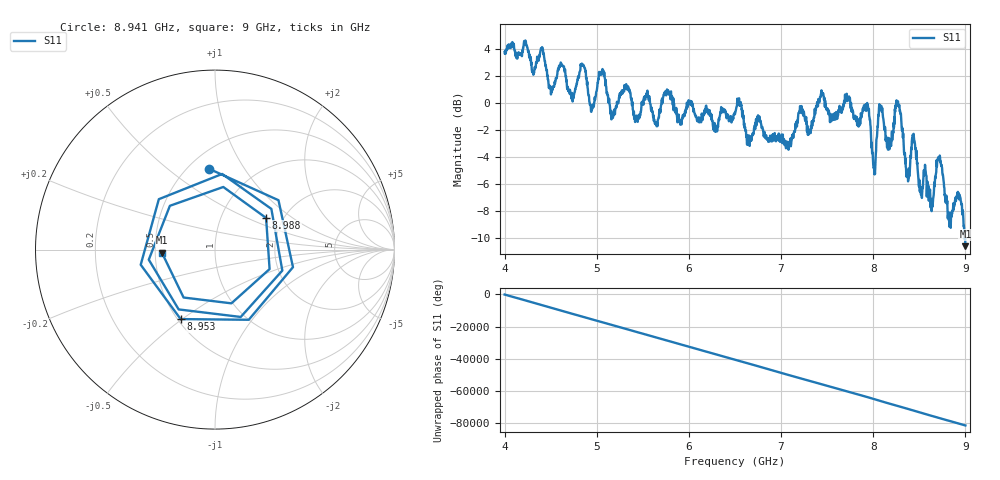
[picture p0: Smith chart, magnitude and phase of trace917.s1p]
! Created with skrf 1.8.0 (http://scikit-rf.org).
# Hz S RI R 50.0
!freq ReS11 ImS11
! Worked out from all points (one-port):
!   1601 points, 4 GHz to 9 GHz, reference 50 ohm
!   lowest |S11| = -10.6 dB at 9 GHz (marker M1), VSWR 1.84, Z = 27.2 - j1.06 ohm
!   |S11| at or under -10 dB: 8.993021 GHz to 8.99555 GHz (2.529 MHz wide, 0.0281 % of centre); 8.997377 GHz to end of sweep
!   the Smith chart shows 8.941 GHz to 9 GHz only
!   S11 on the Smith chart (normalised r, x): 8.941 GHz: 0.63, +0.71; 8.953 GHz: 0.52, -0.49; 8.988 GHz: 1.64, +0.65; 9 GHz: 0.54, -0.02
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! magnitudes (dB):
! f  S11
! 4 GHz  3.8
! 4.406 GHz  4.1
! 4.506 GHz  0.9
! 4.625 GHz  2.7
! 4.738 GHz  0.1
! 4.85 GHz  2.7
! 4.944 GHz  -0.5
! 5.05 GHz  2.3
! 5.25 GHz  0.7
! 5.875 GHz  -1.4
! 6.5 GHz  -0.8
! 7.125 GHz  -2.6
! 7.75 GHz  0.1
! 7.938 GHz  -0.3
! 8.006 GHz  -4.8
! 8.078 GHz  -0.2
! 8.172 GHz  -3.0
! 8.266 GHz  0.1
! 8.375 GHz  -5.0
! 8.438 GHz  -2.3
! 8.516 GHz  -6.7
! 8.634 GHz  -8.0
! 8.712 GHz  -4.1
! 8.831 GHz  -8.5
! 8.941 GHz  -6.9
! 8.953 GHz  -7.3
! 8.988 GHz  -9.5
! 9 GHz  -10.6
